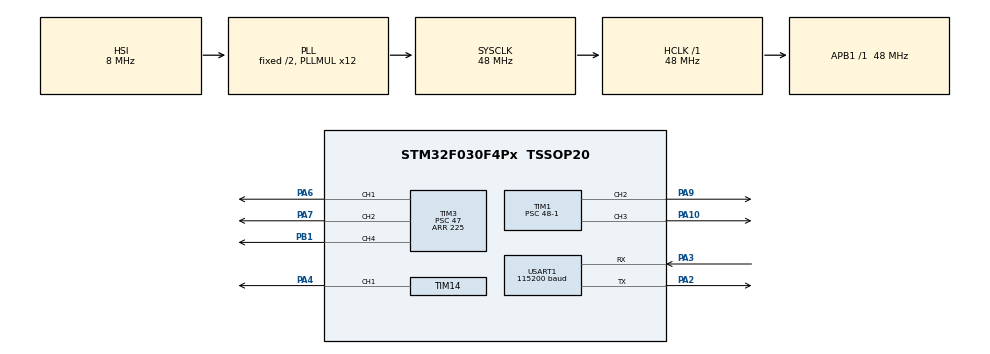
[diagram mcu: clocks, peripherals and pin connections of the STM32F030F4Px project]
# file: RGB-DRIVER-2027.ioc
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Mcu.Family=STM32F0
Mcu.Name=STM32F030F4Px
Mcu.Package=TSSOP20
NVIC.TIM16_IRQn=true\:0\:0\:false\:false\:true\:true\:true\:true
NVIC.USART1_IRQn=true\:0\:0\:false\:false\:true\:true\:true\:true
PA10.Signal=S_TIM1_CH3
PA13.Mode=Serial_Wire
PA13.Signal=SYS_SWDIO
PA14.Mode=Serial_Wire
PA14.Signal=SYS_SWCLK
PA2.GPIO_PuPd=GPIO_PULLUP
PA2.GPIO_Speed=GPIO_SPEED_FREQ_LOW
PA2.Mode=Asynchronous
PA2.Signal=USART1_TX
PA3.GPIO_PuPd=GPIO_PULLUP
PA3.GPIO_Speed=GPIO_SPEED_FREQ_LOW
PA3.Mode=Asynchronous
PA3.Signal=USART1_RX
PA4.Signal=S_TIM14_CH1
PA6.Signal=S_TIM3_CH1
PA7.Signal=S_TIM3_CH2
PA9.Signal=S_TIM1_CH2
PB1.Signal=S_TIM3_CH4
PF0-OSC_IN.Mode=HSE-External-Oscillator
PF0-OSC_IN.Signal=RCC_OSC_IN
PF1-OSC_OUT.Mode=HSE-External-Oscillator
PF1-OSC_OUT.Signal=RCC_OSC_OUT
ProjectManager.HeapSize=0x200
ProjectManager.StackSize=0x400
ProjectManager.TargetToolchain=MDK-ARM V5.32
RCC.AHBFreq_Value=48000000
RCC.APB1Freq_Value=48000000
RCC.APB1TimFreq_Value=48000000
RCC.HCLKFreq_Value=48000000
RCC.PLLMUL=RCC_PLL_MUL12
RCC.SYSCLKFreq_VALUE=48000000
RCC.SYSCLKSource=RCC_SYSCLKSOURCE_PLLCLK
SH.S_TIM14_CH1.0=TIM14_CH1,PWM Generation1 CH1
SH.S_TIM1_CH2.0=TIM1_CH2,PWM Generation2 CH2
SH.S_TIM1_CH3.0=TIM1_CH3,PWM Generation3 CH3
SH.S_TIM3_CH1.0=TIM3_CH1,PWM Generation1 CH1
SH.S_TIM3_CH2.0=TIM3_CH2,PWM Generation2 CH2
SH.S_TIM3_CH4.0=TIM3_CH4,PWM Generation4 CH4
TIM1.Channel-PWM\ Generation2\ CH2=TIM_CHANNEL_2
TIM1.Channel-PWM\ Generation3\ CH3=TIM_CHANNEL_3
TIM1.Period=225
TIM1.Prescaler=48-1
TIM14.Channel=TIM_CHANNEL_1
TIM14.Period=225
TIM14.Prescaler=47
TIM16.Period=999
TIM16.Prescaler=7
TIM3.Channel-PWM\ Generation1\ CH1=TIM_CHANNEL_1
TIM3.Channel-PWM\ Generation2\ CH2=TIM_CHANNEL_2
TIM3.Channel-PWM\ Generation4\ CH4=TIM_CHANNEL_4
TIM3.Period=225
TIM3.Prescaler=47
USART1.BaudRate=115200
USART1.VirtualMode-Asynchronous=VM_ASYNC
VP_TIM14_VS_ClockSourceINT.Mode=Enable_Timer
VP_TIM16_VS_ClockSourceINT.Mode=Enable_Timer
VP_TIM1_VS_ClockSourceINT.Mode=Internal
VP_TIM3_VS_ClockSourceINT.Mode=Internal
board=custom

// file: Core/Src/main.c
/* USER CODE BEGIN Header */
/**
  ******************************************************************************
  * @file           : main.c
  * @brief          : Main program body
  ******************************************************************************
  * @attention
  *
  * Copyright (c) 2026 STMicroelectronics.
  * All rights reserved.
  *
  * This software is licensed under terms that can be found in the LICENSE file
  * in the root directory of this software component.
  * If no LICENSE file comes with this software, it is provided AS-IS.
  *
  ******************************************************************************
  */
/* USER CODE END Header */
#include "main.h"

/* USER CODE BEGIN Includes */
#include "UART.h"
/* USER CODE END Includes */

TIM_HandleTypeDef htim1;
TIM_HandleTypeDef htim3;
TIM_HandleTypeDef htim14;
TIM_HandleTypeDef htim16;

UART_HandleTypeDef huart1;

void SystemClock_Config(void);
static void MX_GPIO_Init(void);
static void MX_TIM1_Init(void);
static void MX_TIM3_Init(void);
static void MX_TIM14_Init(void);
static void MX_USART1_UART_Init(void);
static void MX_TIM16_Init(void);

/* USER CODE BEGIN 0 */
	volatile uint8_t wheel1_R = 225;
	volatile uint8_t wheel1_G = 225;
	volatile uint8_t wheel1_B = 225;

	volatile uint8_t wheel2_R = 225;
	volatile uint8_t wheel2_G = 225;
	volatile uint8_t wheel2_B = 225;
/* USER CODE END 0 */

int main(void)
{

  /* MCU Configuration--------------------------------------------------------*/

  /* Reset of all peripherals, Initializes the Flash interface and the Systick. */
  HAL_Init();

  /* Configure the system clock */
  SystemClock_Config();

  /* Initialize all configured peripherals */
  MX_GPIO_Init();
  MX_TIM1_Init();
  MX_TIM3_Init();
  MX_TIM14_Init();
  MX_USART1_UART_Init();
  MX_TIM16_Init();
	HAL_TIM_Base_Start_IT(&htim16);
  /* USER CODE BEGIN 2 */
	HAL_TIM_PWM_Start(&htim1,TIM_CHANNEL_2);
	HAL_TIM_PWM_Start(&htim1,TIM_CHANNEL_3);
	HAL_TIM_PWM_Start(&htim3,TIM_CHANNEL_1);
	HAL_TIM_PWM_Start(&htim3,TIM_CHANNEL_2);
	HAL_TIM_PWM_Start(&htim3,TIM_CHANNEL_4);
	HAL_TIM_PWM_Start(&htim14,TIM_CHANNEL_1);

	__HAL_TIM_SET_COMPARE(&htim1,TIM_CHANNEL_2,225);
	__HAL_TIM_SET_COMPARE(&htim1,TIM_CHANNEL_3,225);
	__HAL_TIM_SET_COMPARE(&htim3,TIM_CHANNEL_4,225);

	__HAL_TIM_SET_COMPARE(&htim3,TIM_CHANNEL_1,225);
	__HAL_TIM_SET_COMPARE(&htim3,TIM_CHANNEL_2,225);
	__HAL_TIM_SET_COMPARE(&htim14,TIM_CHANNEL_1,225);

  /* USER CODE END 2 */

  /* Infinite loop */
  /* USER CODE BEGIN WHILE */

  while (1)
  {
			if(flag_1ms)
			{
				receive();
				flag_1ms = 0;
			}
			__HAL_TIM_SET_COMPARE(&htim1,TIM_CHANNEL_2,wheel1_R);
			__HAL_TIM_SET_COMPARE(&htim1,TIM_CHANNEL_3,wheel1_G);
			__HAL_TIM_SET_COMPARE(&htim3,TIM_CHANNEL_4,wheel1_B);

			__HAL_TIM_SET_COMPARE(&htim3,TIM_CHANNEL_1,wheel2_R);
			__HAL_TIM_SET_COMPARE(&htim3,TIM_CHANNEL_2,wheel2_G);
			__HAL_TIM_SET_COMPARE(&htim14,TIM_CHANNEL_1,wheel2_B);
	}
    /* USER CODE END WHILE */

}

void SystemClock_Config(void)
{
  RCC_OscInitTypeDef RCC_OscInitStruct = {0};
  RCC_ClkInitTypeDef RCC_ClkInitStruct = {0};
  RCC_PeriphCLKInitTypeDef PeriphClkInit = {0};

  /** Initializes the RCC Oscillators according to the specified parameters
  * in the RCC_OscInitTypeDef structure.
  */
  RCC_OscInitStruct.OscillatorType = RCC_OSCILLATORTYPE_HSI;
  RCC_OscInitStruct.HSIState = RCC_HSI_ON;
  RCC_OscInitStruct.HSICalibrationValue = RCC_HSICALIBRATION_DEFAULT;
  RCC_OscInitStruct.PLL.PLLState = RCC_PLL_ON;
  RCC_OscInitStruct.PLL.PLLSource = RCC_PLLSOURCE_HSI;
  RCC_OscInitStruct.PLL.PLLMUL = RCC_PLL_MUL12;
  RCC_OscInitStruct.PLL.PREDIV = RCC_PREDIV_DIV1;
  if (HAL_RCC_OscConfig(&RCC_OscInitStruct) != HAL_OK)
  {
    Error_Handler();
  }

  /** Initializes the CPU, AHB and APB buses clocks
  */
  RCC_ClkInitStruct.ClockType = RCC_CLOCKTYPE_HCLK|RCC_CLOCKTYPE_SYSCLK
                              |RCC_CLOCKTYPE_PCLK1;
  RCC_ClkInitStruct.SYSCLKSource = RCC_SYSCLKSOURCE_PLLCLK;
  RCC_ClkInitStruct.AHBCLKDivider = RCC_SYSCLK_DIV1;
  RCC_ClkInitStruct.APB1CLKDivider = RCC_HCLK_DIV1;

  if (HAL_RCC_ClockConfig(&RCC_ClkInitStruct, FLASH_LATENCY_1) != HAL_OK)
  {
    Error_Handler();
  }
  PeriphClkInit.PeriphClockSelection = RCC_PERIPHCLK_USART1;
  PeriphClkInit.Usart1ClockSelection = RCC_USART1CLKSOURCE_PCLK1;
  if (HAL_RCCEx_PeriphCLKConfig(&PeriphClkInit) != HAL_OK)
  {
    Error_Handler();
  }
}

static void MX_TIM1_Init(void)
{

  TIM_ClockConfigTypeDef sClockSourceConfig = {0};
  TIM_MasterConfigTypeDef sMasterConfig = {0};
  TIM_OC_InitTypeDef sConfigOC = {0};
  TIM_BreakDeadTimeConfigTypeDef sBreakDeadTimeConfig = {0};

  htim1.Instance = TIM1;
  htim1.Init.Prescaler = 48-1;
  htim1.Init.CounterMode = TIM_COUNTERMODE_UP;
  htim1.Init.Period = 225;
  htim1.Init.ClockDivision = TIM_CLOCKDIVISION_DIV1;
  htim1.Init.RepetitionCounter = 0;
  htim1.Init.AutoReloadPreload = TIM_AUTORELOAD_PRELOAD_DISABLE;
  if (HAL_TIM_Base_Init(&htim1) != HAL_OK)
  {
    Error_Handler();
  }
  sClockSourceConfig.ClockSource = TIM_CLOCKSOURCE_INTERNAL;
  if (HAL_TIM_ConfigClockSource(&htim1, &sClockSourceConfig) != HAL_OK)
  {
    Error_Handler();
  }
  if (HAL_TIM_PWM_Init(&htim1) != HAL_OK)
  {
    Error_Handler();
  }
  sMasterConfig.MasterOutputTrigger = TIM_TRGO_RESET;
  sMasterConfig.MasterSlaveMode = TIM_MASTERSLAVEMODE_DISABLE;
  if (HAL_TIMEx_MasterConfigSynchronization(&htim1, &sMasterConfig) != HAL_OK)
  {
    Error_Handler();
  }
  sConfigOC.OCMode = TIM_OCMODE_PWM1;
  sConfigOC.Pulse = 0;
  sConfigOC.OCPolarity = TIM_OCPOLARITY_HIGH;
  sConfigOC.OCNPolarity = TIM_OCNPOLARITY_HIGH;
  sConfigOC.OCFastMode = TIM_OCFAST_DISABLE;
  sConfigOC.OCIdleState = TIM_OCIDLESTATE_RESET;
  sConfigOC.OCNIdleState = TIM_OCNIDLESTATE_RESET;
  if (HAL_TIM_PWM_ConfigChannel(&htim1, &sConfigOC, TIM_CHANNEL_2) != HAL_OK)
  {
    Error_Handler();
  }
  if (HAL_TIM_PWM_ConfigChannel(&htim1, &sConfigOC, TIM_CHANNEL_3) != HAL_OK)
  {
    Error_Handler();
  }
  sBreakDeadTimeConfig.OffStateRunMode = TIM_OSSR_DISABLE;
  sBreakDeadTimeConfig.OffStateIDLEMode = TIM_OSSI_DISABLE;
  sBreakDeadTimeConfig.LockLevel = TIM_LOCKLEVEL_OFF;
  sBreakDeadTimeConfig.DeadTime = 0;
  sBreakDeadTimeConfig.BreakState = TIM_BREAK_DISABLE;
  sBreakDeadTimeConfig.BreakPolarity = TIM_BREAKPOLARITY_HIGH;
  sBreakDeadTimeConfig.AutomaticOutput = TIM_AUTOMATICOUTPUT_DISABLE;
  if (HAL_TIMEx_ConfigBreakDeadTime(&htim1, &sBreakDeadTimeConfig) != HAL_OK)
  {
    Error_Handler();
  }
  HAL_TIM_MspPostInit(&htim1);

}

static void MX_TIM3_Init(void)
{

  TIM_ClockConfigTypeDef sClockSourceConfig = {0};
  TIM_MasterConfigTypeDef sMasterConfig = {0};
  TIM_OC_InitTypeDef sConfigOC = {0};

  htim3.Instance = TIM3;
  htim3.Init.Prescaler = 47;
  htim3.Init.CounterMode = TIM_COUNTERMODE_UP;
  htim3.Init.Period = 225;
  htim3.Init.ClockDivision = TIM_CLOCKDIVISION_DIV1;
  htim3.Init.AutoReloadPreload = TIM_AUTORELOAD_PRELOAD_DISABLE;
  if (HAL_TIM_Base_Init(&htim3) != HAL_OK)
  {
    Error_Handler();
  }
  sClockSourceConfig.ClockSource = TIM_CLOCKSOURCE_INTERNAL;
  if (HAL_TIM_ConfigClockSource(&htim3, &sClockSourceConfig) != HAL_OK)
  {
    Error_Handler();
  }
  if (HAL_TIM_PWM_Init(&htim3) != HAL_OK)
  {
    Error_Handler();
  }
  sMasterConfig.MasterOutputTrigger = TIM_TRGO_RESET;
  sMasterConfig.MasterSlaveMode = TIM_MASTERSLAVEMODE_DISABLE;
  if (HAL_TIMEx_MasterConfigSynchronization(&htim3, &sMasterConfig) != HAL_OK)
  {
    Error_Handler();
  }
  sConfigOC.OCMode = TIM_OCMODE_PWM1;
  sConfigOC.Pulse = 0;
  sConfigOC.OCPolarity = TIM_OCPOLARITY_HIGH;
  sConfigOC.OCFastMode = TIM_OCFAST_DISABLE;
  if (HAL_TIM_PWM_ConfigChannel(&htim3, &sConfigOC, TIM_CHANNEL_1) != HAL_OK)
  {
    Error_Handler();
  }
  if (HAL_TIM_PWM_ConfigChannel(&htim3, &sConfigOC, TIM_CHANNEL_2) != HAL_OK)
  {
    Error_Handler();
  }
  if (HAL_TIM_PWM_ConfigChannel(&htim3, &sConfigOC, TIM_CHANNEL_4) != HAL_OK)
  {
    Error_Handler();
  }
  HAL_TIM_MspPostInit(&htim3);

}

static void MX_TIM14_Init(void)
{

  TIM_OC_InitTypeDef sConfigOC = {0};

  htim14.Instance = TIM14;
  htim14.Init.Prescaler = 47;
  htim14.Init.CounterMode = TIM_COUNTERMODE_UP;
  htim14.Init.Period = 225;
  htim14.Init.ClockDivision = TIM_CLOCKDIVISION_DIV1;
  htim14.Init.AutoReloadPreload = TIM_AUTORELOAD_PRELOAD_DISABLE;
  if (HAL_TIM_Base_Init(&htim14) != HAL_OK)
  {
    Error_Handler();
  }
  if (HAL_TIM_PWM_Init(&htim14) != HAL_OK)
  {
    Error_Handler();
  }
  sConfigOC.OCMode = TIM_OCMODE_PWM1;
  sConfigOC.Pulse = 0;
  sConfigOC.OCPolarity = TIM_OCPOLARITY_HIGH;
  sConfigOC.OCFastMode = TIM_OCFAST_DISABLE;
  if (HAL_TIM_PWM_ConfigChannel(&htim14, &sConfigOC, TIM_CHANNEL_1) != HAL_OK)
  {
    Error_Handler();
  }
  HAL_TIM_MspPostInit(&htim14);

}

static void MX_TIM16_Init(void)
{

  htim16.Instance = TIM16;
  htim16.Init.Prescaler = 7;
  htim16.Init.CounterMode = TIM_COUNTERMODE_UP;
  htim16.Init.Period = 999;
  htim16.Init.ClockDivision = TIM_CLOCKDIVISION_DIV1;
  htim16.Init.RepetitionCounter = 0;
  htim16.Init.AutoReloadPreload = TIM_AUTORELOAD_PRELOAD_DISABLE;
  if (HAL_TIM_Base_Init(&htim16) != HAL_OK)
  {
    Error_Handler();
  }

}

static void MX_USART1_UART_Init(void)
{

  huart1.Instance = USART1;
  huart1.Init.BaudRate = 115200;
  huart1.Init.WordLength = UART_WORDLENGTH_8B;
  huart1.Init.StopBits = UART_STOPBITS_1;
  huart1.Init.Parity = UART_PARITY_NONE;
  huart1.Init.Mode = UART_MODE_TX_RX;
  huart1.Init.HwFlowCtl = UART_HWCONTROL_NONE;
  huart1.Init.OverSampling = UART_OVERSAMPLING_16;
  huart1.Init.OneBitSampling = UART_ONE_BIT_SAMPLE_DISABLE;
  huart1.AdvancedInit.AdvFeatureInit = UART_ADVFEATURE_NO_INIT;
  if (HAL_UART_Init(&huart1) != HAL_OK)
  {
    Error_Handler();
  }

}

static void MX_GPIO_Init(void)
{

  /* GPIO Ports Clock Enable */
  __HAL_RCC_GPIOF_CLK_ENABLE();
  __HAL_RCC_GPIOA_CLK_ENABLE();
  __HAL_RCC_GPIOB_CLK_ENABLE();

}

void Error_Handler(void)
{
  __disable_irq();
  while (1)
  {
  }
}
